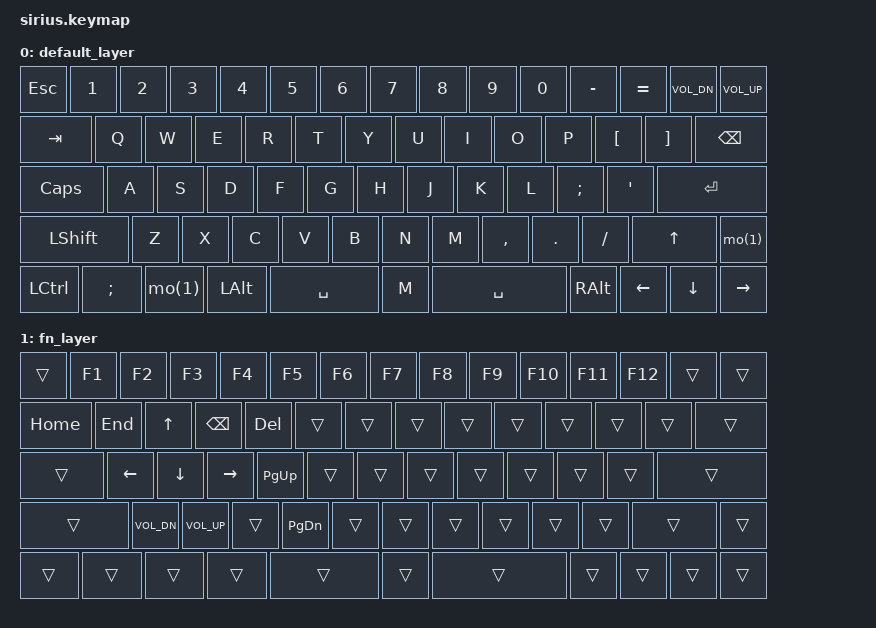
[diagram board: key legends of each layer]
#include <behaviors.dtsi>
#include <dt-bindings/zmk/bt.h>
#include <dt-bindings/zmk/keys.h>

/ {
    behaviors {
        hm: homerow_mods {
            compatible = "zmk,behavior-hold-tap";
            #binding-cells = <2>;
            tapping-term-ms = <200>;
            quick-tap-ms = <200>;
            require-prior-idle-ms = <100>;
            flavor = "tap-preferred";
            bindings = <&kp>, <&kp>;
        };

        ht: hold_tap {
            compatible = "zmk,behavior-hold-tap";
            #binding-cells = <2>;
            tapping-term-ms = <200>;
            quick-tap-ms = <200>;
            require-prior-idle-ms = <100>;
            flavor = "tap-preferred";
            bindings = <&kp>, <&kp>;
        };
    };

    combos {
        compatible = "zmk,combos";
        combo_kor { timeout-ms = <50>; key-positions = <33 34>; bindings = <&tog 1>; };
    };

      keymap {
        compatible = "zmk,keymap";

        default_layer {
            bindings = <
            &kp ESC        &kp N1         &kp N2         &kp N3         &kp N4         &kp N5         &kp N6         &kp N7         &kp N8         &kp N9         &kp N0         &kp MINUS      &kp EQUAL      &kp C_VOL_DN   &kp C_VOL_UP
            &kp TAB        &kp Q          &kp W          &kp E          &kp R          &kp T          &kp Y          &kp U          &kp I          &kp O          &kp P          &kp LBKT       &kp RBKT       &kp BSPC
            &kp CAPS       &kp A          &kp S          &kp D          &kp F          &kp G          &kp H          &kp J          &kp K          &kp L          &kp SEMI       &kp SQT        &kp ENTER
            &kp LSHFT      &kp Z          &kp X          &kp C          &kp V          &kp B          &kp N          &kp M          &kp COMMA      &kp DOT        &kp SLASH      &kp UP         &mo(1)
            &kp LCTRL      &kp SEMI       &mo(1)         &kp LALT       &kp SPACE      &kp M          &kp SPACE      &kp RALT       &kp LEFT       &kp DOWN       &kp RIGHT
            >;
        };

        fn_layer {
            bindings = <
            &trans         &kp F1         &kp F2         &kp F3         &kp F4         &kp F5         &kp F6         &kp F7         &kp F8         &kp F9         &kp F10        &kp F11        &kp F12        &trans         &trans
            &kp HOME       &kp END        &kp UP         &kp BSPC       &kp DEL        &trans         &trans         &trans         &trans         &trans         &trans         &trans         &trans         &trans
            &trans         &kp LEFT       &kp DOWN       &kp RIGHT      &kp PG_UP      &trans         &trans         &trans         &trans         &trans         &trans         &trans         &trans
            &trans         &kp C_VOL_DN   &kp C_VOL_UP         &trans         &kp PG_DN      &trans         &trans         &trans         &trans         &trans         &trans         &trans         &trans
            &trans         &trans         &trans         &trans         &trans         &trans         &trans         &trans         &trans         &trans         &trans
            >;
        };


    };
};
